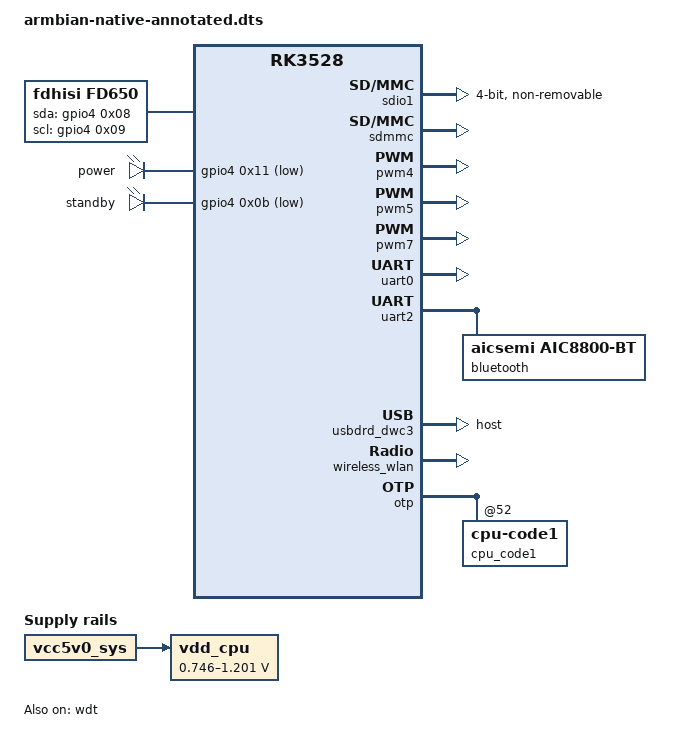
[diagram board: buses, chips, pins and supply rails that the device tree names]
/dts-v1/;
#include "rk3528-evb1-ddr4-v10.dtsi"
#include "rk3528-linux.dtsi"

/* hardware the reference board has and this box does not */
/delete-node/ &chosen;
/delete-node/ &{/cpu0-opp-table/opp-1008000000};
/delete-node/ &{/cpu0-opp-table/opp-1608000000};
/delete-node/ &{/cpu0-opp-table/opp-1800000000};
/delete-node/ &{/cpu0-opp-table/opp-2016000000};
/delete-node/ &{/cpu0-opp-table/opp-408000000};
/delete-node/ &{/cpu0-opp-table/opp-600000000};
/delete-node/ &{/cpu0-opp-table/opp-816000000};
/delete-node/ &{/dmc-opp-table/opp-920000000};
/delete-node/ &rgmii_phy;
/delete-node/ &{/gpu-opp-table/opp-300000000};
/delete-node/ &{/gpu-opp-table/opp-500000000};
/delete-node/ &{/gpu-opp-table/opp-600000000};
/delete-node/ &pcie2x1;
/delete-node/ &uart2m1_gpios;
/delete-node/ &vdd_cpu;
/delete-node/ &vdd_gpu;
/delete-node/ &vdd_logic;

/* board name first, then the reference design it derives from; rk3528a last so rkmpp
 * can match the codec, which has no rk3518 entry */
&{/} {
	compatible = "r69-xr821,rk3518-tvbox", "rockchip,rk3518-evb1-ddr4-v10", "rockchip,rk3518", "rockchip,rk3528a";
	model = "R69 XR821_V1.1 (Rockchip RK3518 EVB1 DDR4 V10 Board)";
};

/* one ethernet port on this board */
&{/aliases} {
	/delete-property/ ethernet1;
};

/* this box bins to 1.2/1.4 GHz; voltages are its own */
&cpu0_opp_table {
	rockchip,pvtm-voltage-sel = <0x00 0x58c 0x00 0x582 0x5a4 0x01 0x5a5 0x5c2 0x02 0x5c3 0x5e5 0x03 0x5e6 0x608 0x04 0x609 0x62b 0x05 0x62c 0x653 0x06 0x654 0x699 0x07 0x69a 0x6d0 0x08 0x6d1 0x707 0x09 0x708 0x270f 0x0a>;
	rockchip,pvtm-freq = <0x159b40>;
	rockchip,pvtm-volt = <0xe7ef0>;
	rockchip,video-1080p-freq = <0x124f80>;
};

/* one voltage bin on this board, not the reference board's spread */
&{/cpu0-opp-table/opp-1200000000} {
	/delete-property/ opp-microvolt-L0;
	/delete-property/ opp-microvolt-L1;
	/delete-property/ opp-microvolt-L2;
	/delete-property/ opp-microvolt-L3;
	/delete-property/ opp-microvolt-L4;
	/delete-property/ opp-microvolt-L5;
	/delete-property/ opp-microvolt-L6;
	opp-microvolt = <0xdbba0 0xdbba0 0xf4240>;
};

/* one voltage bin on this board, not the reference board's spread */
&{/cpu0-opp-table/opp-1416000000} {
	/delete-property/ opp-microvolt-L10;
	/delete-property/ opp-microvolt-L11;
	/delete-property/ opp-microvolt-L5;
	/delete-property/ opp-microvolt-L6;
	/delete-property/ opp-microvolt-L7;
	/delete-property/ opp-microvolt-L8;
	/delete-property/ opp-microvolt-L9;
	opp-microvolt = <0xdbba0 0xdbba0 0xf4240>;
	opp-microvolt-L1 = <0xe7ef0 0xe7ef0 0xf4240>;
	opp-microvolt-L2 = <0xe4e1c 0xe4e1c 0xf4240>;
	opp-microvolt-L3 = <0xe1d48 0xe1d48 0xf4240>;
	opp-microvolt-L4 = <0xdec74 0xdec74 0xf4240>;
	opp-microvolt-L0 = <0xeafc4 0xeafc4 0xf4240>;
};

/* serial comes from a different OTP cell */
&{/cpuinfo} {
	nvmem-cells = <&otp_id &otp_cpu_version &cpu_code &cpu_code1>;
	nvmem-cell-names = "id", "cpu-version", "cpu-code", "cpu-code1";
};

/* no vendor boot logo */
&route_hdmi {
	logo,mode = "fullscreen";
	charge_logo,mode = "fullscreen";
};

/* no vendor boot logo */
&route_tve {
	logo,mode = "fullscreen";
	charge_logo,mode = "fullscreen";
};

/* one rail supplies logic, GPU and DDR here */
&dmc {
	center-supply = <&vdd_cpu>;
};

/* one voltage bin on this board, not the reference board's spread */
&{/dmc-opp-table/opp-1056000000} {
	/delete-property/ opp-microvolt-L0;
	/delete-property/ opp-microvolt-L1;
	/delete-property/ opp-microvolt-L2;
	/delete-property/ opp-microvolt-L3;
	/delete-property/ opp-microvolt-L4;
	opp-microvolt = <0xdbba0 0xdbba0 0xf4240>;
};

/* 100M PHY, internal */
&gmac0 {
	snps,axi-config = <0x70>;
	snps,mtl-rx-config = <0x71>;
	snps,mtl-tx-config = <0x72>;
};

/* second ethernet controller is not wired */
&gmac1 {
	/delete-property/ clock_in_out;
	/delete-property/ phy-handle;
	/delete-property/ phy-mode;
	/delete-property/ pinctrl-0;
	/delete-property/ pinctrl-names;
	/delete-property/ snps,reset-active-low;
	/delete-property/ snps,reset-delays-us;
	/delete-property/ snps,reset-gpio;
	/delete-property/ tx_delay;
	snps,axi-config = <0x78>;
	snps,mtl-rx-config = <0x79>;
	snps,mtl-tx-config = <0x7a>;
	status = "disabled";
};

/* frees ff9f0000 for ttyS0 */
&{/fiq-debugger} {
	status = "disabled";
};

/* no separate GPU rail */
&gpu_bus {
	/delete-property/ bus-supply;
	status = "disabled";
};

/* this box's GPU operating points */
&gpu_opp_table {
	rockchip,pvtm-voltage-sel = <0x00 0x329 0x00 0x32a 0x33e 0x01 0x33f 0x352 0x02 0x353 0x370 0x03 0x371 0x37a 0x04 0x37b 0x38e 0x05 0x38f 0x3a2 0x06 0x3a3 0x3b6 0x07 0x3b7 0x3ca 0x08 0x3cb 0x3e3 0x09 0x3e8 0x270f 0x0a>;
	rockchip,pvtm-volt = <0xe7ef0>;
};

/* one voltage bin on this board, not the reference board's spread */
&{/gpu-opp-table/opp-700000000} {
	/delete-property/ clock-latency-ns;
	/delete-property/ opp-microvolt-L1;
	/delete-property/ opp-microvolt-L2;
	/delete-property/ opp-microvolt-L3;
	/delete-property/ opp-microvolt-L4;
	/delete-property/ opp-microvolt-L5;
	/delete-property/ opp-microvolt-L6;
	/delete-property/ opp-microvolt-L7;
	/delete-property/ opp-microvolt-L8;
};

/* one voltage bin on this board, not the reference board's spread */
&{/gpu-opp-table/opp-800000000} {
	/delete-property/ clock-latency-ns;
	/delete-property/ opp-microvolt-L6;
	/delete-property/ opp-microvolt-L7;
	/delete-property/ opp-microvolt-L8;
	opp-microvolt = <0xdbba0 0xdbba0 0xf4240>;
	opp-microvolt-L1 = <0xe7ef0 0xe7ef0 0xf4240>;
	opp-microvolt-L2 = <0xe4e1c 0xe4e1c 0xf4240>;
	opp-microvolt-L3 = <0xe1d48 0xe1d48 0xf4240>;
	opp-microvolt-L4 = <0xdec74 0xdec74 0xf4240>;
	opp-microvolt-L5 = <0xdbba0 0xdbba0 0xf4240>;
	opp-microvolt-L0 = <0xeafc4 0xeafc4 0xf4240>;
};

/* mainline lima expects bus/core; the vendor blob used its own names */
&gpu {
	mali-supply = <&vdd_cpu>;
};

/* factory drives CTS manually */
&hdmi {
	rockchip,cts-manual;
};

/* unwired */
&i2c6 {
	status = "disabled";
};

/* eMMC runs HS200; the factory caps it here */
&sdhci {
	/delete-property/ mmc-hs400-1_8v;
	/delete-property/ mmc-hs400-enhanced-strobe;
	max-frequency = <0x5f5e100>;
	mmc-hs200-1_8v;
	mmc-hs200-enhanced-strobe;
};

/* SDIO Wi-Fi is on the second controller, not the first */
&sdio0 {
	/delete-property/ bus-width;
	/delete-property/ cap-sd-highspeed;
	/delete-property/ cap-sdio-irq;
	/delete-property/ disable-wp;
	/delete-property/ keep-power-in-suspend;
	/delete-property/ mmc-pwrseq;
	/delete-property/ no-mmc;
	/delete-property/ no-sd;
	/delete-property/ non-removable;
	/delete-property/ pinctrl-0;
	/delete-property/ pinctrl-names;
	/delete-property/ sd-uhs-sdr104;
	/delete-property/ supports-sdio;
	max-frequency = <0x8f0d180>;
	status = "disabled";
};

/* AIC8800 SDIO Wi-Fi */
&sdio1 {
	max-frequency = <0x5f5e100>;
	status = "okay";
	no-sd;
	no-mmc;
	supports-sdio;
	bus-width = <0x04>;
	disable-wp;
	cap-sd-highspeed;
	cap-sdio-irq;
	keep-power-in-suspend;
	non-removable;
	mmc-pwrseq = <&sdio_pwrseq>;
	pinctrl-names = "default";
	pinctrl-0 = <&sdio1_bus4 &sdio1_cmd &sdio1_clk>;
	sd-uhs-sdr104;
};

/* SD slot, 3.3 V only - no UHS on this board */
&sdmmc {
	/delete-property/ rockchip,default-sample-phase;
	/delete-property/ sd-uhs-sdr104;
	/delete-property/ sd-uhs-sdr12;
	/delete-property/ sd-uhs-sdr25;
	/delete-property/ sd-uhs-sdr50;
	/delete-property/ vqmmc-supply;
	status = "okay";
};

/* which VPU blocks share an IOMMU domain here */
&mpp_srv {
	rockchip,iommu-shared-mask = <0x420a>;
};

/* Wi-Fi pins as routed here */
&wifi_32k {
	rockchip,pins = <0x03 0x13 0x01 &pcfg_pull_none>;
};

/* Wi-Fi pins as routed here */
&wifi_enable_h {
	rockchip,pins = <0x03 0x0a 0x00 &pcfg_pull_none>;
};

/* Wi-Fi pins as routed here */
&wifi_host_wake_irq {
	rockchip,pins = <0x03 0x0b 0x00 &pcfg_pull_down>;
};

/* IR as an ATF wake source, so the remote can power the box on */
&pwm3 {
	remote_support_psci = <0x01>;
};

/* the bundled 22-button remote (NEC usercode 0xfb05); BLE mode is HID, not this */
&{/pwm@ffa90030/ir_key1} {
	rockchip,usercode = <0xfb05>;
	rockchip,key_table = <0xbb 0x1c 0xe5 0x9e 0x5b 0x8a 0x4d 0x8d 0xba 0x67 0xb9 0x6c 0xb8 0x69 0xb7 0x6a 0xd2 0x66 0xfd 0x73 0xfc 0x72 0xf7 0x74 0xf6 0x71 0xb5 0x8b 0xe4 0x0e 0xff 0x68 0xfe 0x6d 0xd0 0x184 0x04 0x40 0x14 0x41 0x4c 0x3d 0x4b 0x42>;
};

/* another remote the vendor bundles with some boxes */
&{/pwm@ffa90030/ir_key2} {
	rockchip,usercode = <0xfe02>;
	rockchip,key_table = <0xec 0x1c 0xe6 0x9e 0xe9 0x67 0xe5 0x6c 0xae 0x69 0xaf 0x6a 0xee 0x66 0xe7 0x73 0xef 0x72 0xbf 0x74 0xbe 0x44 0xff 0x8b 0xbd 0x0e 0xbc 0xda 0xf0 0x8c 0xb3 0x184 0xb1 0x02 0xf2 0x03 0xf3 0x04 0xb5 0x05 0xf6 0x06 0xf7 0x07 0xb9 0x08 0xfa 0x09 0xfb 0x0a 0xb4 0xa5 0xb0 0xa3 0xfd 0xb7 0xdb 0xb4 0xd9 0xb5 0xf8 0xb6 0xfe 0x0b>;
};

/* another remote the vendor bundles with some boxes */
&{/pwm@ffa90030/ir_key3} {
	rockchip,usercode = <0xfe01>;
	rockchip,key_table = <0xfd 0xb7 0xf8 0xb6 0xde 0xb4 0xda 0x01 0xfa 0x04>;
};

/* enabled in the factory tree */
&pwm4 {
	status = "okay";
};

/* enabled in the factory tree */
&pwm5 {
	status = "okay";
};

/* enabled in the factory tree */
&pwm7 {
	status = "okay";
};

/* codec master clock, 6.144 MHz, kept running */
&sai3 {
	assigned-clocks = <&cru 0x184>;
	assigned-clock-rates = <0x5dc000>;
	rockchip,always-on;
};

/* unwired */
&sai1 {
	status = "disabled";
};

/* Wi-Fi reset line as routed here */
&sdio_pwrseq {
	reset-gpios = <&gpio3 0x0a 0x01>;
};

/* the debug header, as ttyS0 */
&uart0 {
	status = "okay";
	pinctrl-names = "default";
	pinctrl-0 = <&uart0m0_xfer>;
};

/* Bluetooth sits on the m0 pinmux here */
&uart2 {
	pinctrl-0 = <&uart2m0_xfer &uart2m0_ctsn>;
};

/* the USB 3 port is host only */
&usbdrd_dwc3 {
	dr_mode = "host";
};

/* regulator enable as routed here */
&vcc5v0_otg {
	gpio = <&gpio4 0x12 0x00>;
};

/* eSmart layer line-buffer mode as the factory sets it */
&vop {
	esmart_lb_mode = [03];
	support-multi-area;
};

/* /dev/watchdog for systemd RuntimeWatchdogSec */
&wdt {
	status = "okay";
};

/* AIC8800 BT over the uart2 m0 pins */
&wireless_bluetooth {
	/delete-property/ BT,wake_host_irq;
	uart_rts_gpios = <&gpio3 0x02 0x01>;
	pinctrl-0 = <&uart2m0_rtsn>;
	pinctrl-1 = <&uart2m0_gpios>;
	BT,reset_gpio = <&gpio3 0x11 0x00>;
	BT,wake_gpio = <&gpio3 0x0c 0x00>;
};

/* AIC8800, not the reference board's part */
&wireless_wlan {
	wifi_chip_type = "AIC8800";
	WIFI,host_wake_irq = <0xa8 0x0b 0x00>;
};

/* DDR operating points this board runs */
&dmc_opp_table {
	opp-324000000 {
		opp-hz = <0x00 0x134fd900>;
		opp-microvolt = <0xdbba0 0xdbba0 0xf4240>;
	};
	opp-666000000 {
		opp-hz = <0x00 0x27b25a80>;
		opp-microvolt = <0xdbba0 0xdbba0 0xf4240>;
	};
	opp-780000000 {
		opp-hz = <0x00 0x2e7ddb00>;
		opp-microvolt = <0xdbba0 0xdbba0 0xf4240>;
	};
};

/* front-panel digit display, bit-banged over two GPIOs */
&{/} {
	fd650 {
		compatible = "fdhisi,fd650";
		sda-gpio = <&gpio4 0x08 0x00>;
		scl-gpio = <&gpio4 0x09 0x00>;
		status = "okay";
	};
};

/* power/standby are the names the shared LED hooks drive; retain-state-* keeps the
 * LED core from clearing them at shutdown and suspend */
&{/} {
	leds {
		compatible = "gpio-leds";
		power_led: power {
			label = "power";
			gpios = <&gpio4 0x11 0x01>;
			default-state = "on";
			retain-state-shutdown;
			retain-state-suspended;
		};
		standby_led: standby {
			label = "standby";
			gpios = <&gpio4 0x0b 0x01>;
			default-state = "off";
			retain-state-shutdown;
			retain-state-suspended;
		};
	};
};

/* the OTP cell /cpuinfo reads for the SoC serial */
&otp {
	cpu_code1: cpu-code1@52 {
		reg = <0x52 0x02>;
	};
};

/* pin group for the power LED */
&pinctrl {
	leds {
		led_power_pin: led-power-pin {
			rockchip,pins = <0x04 0x0b 0x00 &pcfg_pull_none>;
		};
	};
};

/* BT pins as routed here */
&{/pinctrl/wireless-bluetooth} {
	uart2m0_gpios: uart2m0-gpios {
		rockchip,pins = <0x03 0x02 0x00 &pcfg_pull_none>;
	};
};

/* no vendor boot logo, so nothing to reserve for it */
&reserved_memory {
	cma {
		compatible = "shared-dma-pool";
		reusable;
		size = <0x00 0x800000>;
		linux,cma-default;
	};
};

/* binds the AIC8800 to the H:4 serdev driver */
&uart2 {
	bluetooth {
		compatible = "aicsemi,aic8800-bt";
		max-speed = <0x16e360>;
	};
};

/* one pwm-regulator feeds CPU, GPU and logic; the reference board splits them in three */
&{/} {
	vdd_cpu: vdd_logic: vdd_gpu: vdd-cpu {
		compatible = "pwm-regulator";
		pwms = <&pwm1 0x00 0x1388 0x01>;
		regulator-name = "vdd_cpu";
		regulator-min-microvolt = <0xb6210>;
		regulator-max-microvolt = <0x125368>;
		regulator-init-microvolt = <0xe8aa8>;
		regulator-always-on;
		regulator-boot-on;
		regulator-settling-time-up-us = <0xfa>;
		pwm-supply = <&vcc5v0_sys>;
		status = "okay";
	};
};
